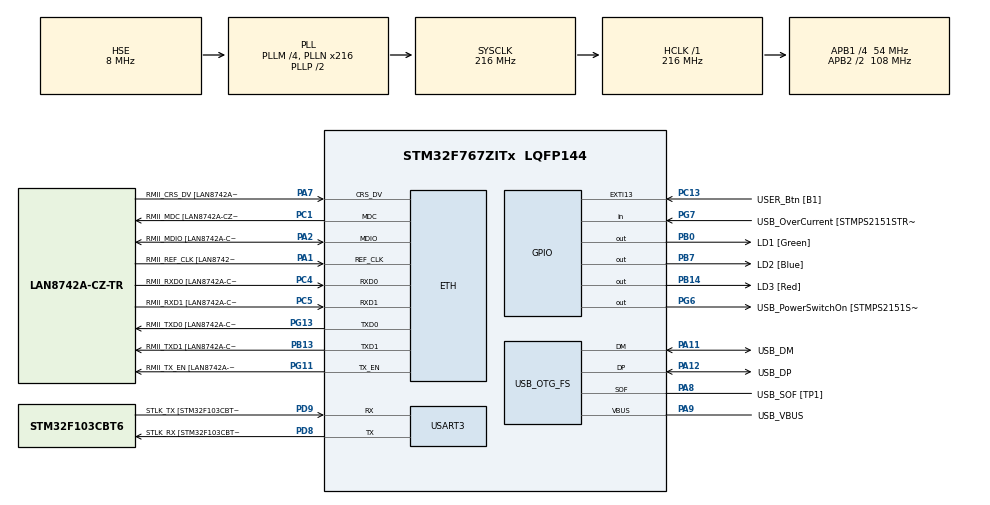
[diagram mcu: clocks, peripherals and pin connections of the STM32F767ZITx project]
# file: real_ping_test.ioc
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CORTEX_M7.default_mode_Activation=1
ETH.MediaInterface=HAL_ETH_RMII_MODE
ETH.PHY_Name=LAN8742A_PHY_ADDRESS
ETH.PHY_Value=0
ETH.PhyAddress=0
LWIP.BSP.number=1
LWIP.IP_ADDRESS=192.168.000.010
LWIP.LWIP_DHCP=0
LWIP.NETMASK_ADDRESS=255.255.255.000
LWIP.Version=v2.1.2_Cube
LWIP0.BSP.STBoard=false
LWIP0.BSP.api=BSP_COMPONENT_DRIVER
LWIP0.BSP.component=LAN8742
LWIP0.BSP.instance=LAN8742
LWIP0.BSP.name=Driver_PHY
LWIP0.BSP.semaphore=S_LAN8742
LWIP0.BSP.solution=LAN8742
Mcu.Family=STM32F7
Mcu.Name=STM32F767ZITx
Mcu.Package=LQFP144
NVIC.ETH_IRQn=true\:0\:0\:false\:false\:true\:true\:true\:true
NVIC.PriorityGroup=NVIC_PRIORITYGROUP_4
PA1.GPIO_Label=RMII_REF_CLK [LAN8742A-CZ-TR_REFCLK0]
PA1.Mode=RMII
PA1.Signal=ETH_REF_CLK
PA10.GPIO_Label=USB_ID
PA10.Signal=USB_OTG_FS_ID
PA11.GPIO_Label=USB_DM
PA11.Mode=Device_Only
PA11.Signal=USB_OTG_FS_DM
PA12.GPIO_Label=USB_DP
PA12.Mode=Device_Only
PA12.Signal=USB_OTG_FS_DP
PA13.GPIO_Label=TMS
PA13.Mode=Serial_Wire
PA13.Signal=SYS_JTMS-SWDIO
PA14.GPIO_Label=TCK
PA14.Mode=Serial_Wire
PA14.Signal=SYS_JTCK-SWCLK
PA2.GPIO_Label=RMII_MDIO [LAN8742A-CZ-TR_MDIO]
PA2.Mode=RMII
PA2.Signal=ETH_MDIO
PA7.GPIO_Label=RMII_CRS_DV [LAN8742A-CZ-TR_CRS_DV]
PA7.Mode=RMII
PA7.Signal=ETH_CRS_DV
PA8.GPIO_Label=USB_SOF [TP1]
PA8.Mode=Activate_SOF_FS
PA8.Signal=USB_OTG_FS_SOF
PA9.GPIO_Label=USB_VBUS
PA9.Mode=Activate_VBUS
PA9.Signal=USB_OTG_FS_VBUS
PB0.GPIO_Label=LD1 [Green]
PB0.Signal=GPIO_Output
PB13.GPIO_Label=RMII_TXD1 [LAN8742A-CZ-TR_TXD1]
PB13.Mode=RMII
PB13.Signal=ETH_TXD1
PB14.GPIO_Label=LD3 [Red]
PB14.Signal=GPIO_Output
PB3.GPIO_Label=SWO
PB3.Signal=SYS_JTDO-SWO
PB7.GPIO_Label=LD2 [Blue]
PB7.Signal=GPIO_Output
PC1.GPIO_Label=RMII_MDC [LAN8742A-CZ-TR_MDC]
PC1.Mode=RMII
PC1.Signal=ETH_MDC
PC13.GPIO_Label=USER_Btn [B1]
PC13.Signal=GPXTI13
PC14/OSC32_IN.Mode=LSE-External-Oscillator
PC14/OSC32_IN.Signal=RCC_OSC32_IN
PC15/OSC32_OUT.Mode=LSE-External-Oscillator
PC15/OSC32_OUT.Signal=RCC_OSC32_OUT
PC4.GPIO_Label=RMII_RXD0 [LAN8742A-CZ-TR_RXD0]
PC4.Mode=RMII
PC4.Signal=ETH_RXD0
PC5.GPIO_Label=RMII_RXD1 [LAN8742A-CZ-TR_RXD1]
PC5.Mode=RMII
PC5.Signal=ETH_RXD1
PD8.GPIO_Label=STLK_RX [STM32F103CBT6_PA3]
PD8.Mode=Asynchronous
PD8.Signal=USART3_TX
PD9.GPIO_Label=STLK_TX [STM32F103CBT6_PA2]
PD9.Mode=Asynchronous
PD9.Signal=USART3_RX
PG11.GPIO_Label=RMII_TX_EN [LAN8742A-CZ-TR_TXEN]
PG11.Mode=RMII
PG11.Signal=ETH_TX_EN
PG13.GPIO_Label=RMII_TXD0 [LAN8742A-CZ-TR_TXD0]
PG13.Mode=RMII
PG13.Signal=ETH_TXD0
PG6.GPIO_Label=USB_PowerSwitchOn [STMPS2151STR_EN]
PG6.Signal=GPIO_Output
PG7.GPIO_Label=USB_OverCurrent [STMPS2151STR_FAULT]
PG7.Signal=GPIO_Input
PH0/OSC_IN.GPIO_Label=MCO [STM32F103CBT6_PA8]
PH0/OSC_IN.Mode=HSE-External-Clock-Source
PH0/OSC_IN.Signal=RCC_OSC_IN
PH1/OSC_OUT.Mode=HSE-External-Clock-Source
PH1/OSC_OUT.Signal=RCC_OSC_OUT
ProjectManager.HeapSize=0x200
ProjectManager.StackSize=0x400
ProjectManager.TargetToolchain=STM32CubeIDE
RCC.48MHZClocksFreq_Value=24000000
RCC.AHBFreq_Value=216000000
RCC.APB1CLKDivider=RCC_HCLK_DIV4
RCC.APB1Freq_Value=54000000
RCC.APB1TimFreq_Value=108000000
RCC.APB2CLKDivider=RCC_HCLK_DIV2
RCC.APB2Freq_Value=108000000
RCC.APB2TimFreq_Value=216000000
RCC.CortexFreq_Value=216000000
RCC.HCLKFreq_Value=216000000
RCC.HSE_VALUE=8000000
RCC.HSI_VALUE=16000000
RCC.PLLM=4
RCC.PLLMUL=RCC_PLL_MUL9
RCC.PLLN=216
RCC.PLLQ=9
RCC.PRESCALERUSB=RCC_USBCLKSOURCE_PLL_DIV1_5
RCC.SYSCLKFreq_VALUE=216000000
RCC.SYSCLKSource=RCC_SYSCLKSOURCE_PLLCLK
RCC.SYSCLKSourceVirtual=RCC_SYSCLKSOURCE_PLLCLK
RCC.USBFreq_Value=48000000
RCC.VCOOutputFreq_Value=432000000
USART3.VirtualMode-Asynchronous=VM_ASYNC
USB_OTG_FS.VirtualMode=Device_Only
VP_LWIP_VS_Enabled.Mode=Enabled
board=NUCLEO-F767ZI

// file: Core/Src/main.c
/* USER CODE BEGIN Header */
/**
  ******************************************************************************
  * @file           : main.c
  * @brief          : Main program body
  ******************************************************************************
  * @attention
  *
  * Copyright (c) 2026 STMicroelectronics.
  * All rights reserved.
  *
  * This software is licensed under terms that can be found in the LICENSE file
  * in the root directory of this software component.
  * If no LICENSE file comes with this software, it is provided AS-IS.
  *
  ******************************************************************************
  */
/* USER CODE END Header */
#include "main.h"
#include "lwip.h"

/* USER CODE BEGIN Includes */
#include "lwip/tcp.h"
#include <string.h>
/* USER CODE END Includes */

/* USER CODE BEGIN PD */
/* DoIP (ISO 13400-2) */
#define DOIP_HDR_LEN            8U
#define DOIP_RX_BUF_SIZE        2048U        /* 최대 메시지 = 8 + 4 + 2 + 1024 = 1038B */
#define DOIP_PT_GENERIC_NACK    0x0000U
#define DOIP_PT_ROUTING_REQ     0x0005U
#define DOIP_PT_ROUTING_RES     0x0006U
#define DOIP_PT_DIAG_MSG        0x8001U
#define DOIP_PT_DIAG_ACK        0x8002U
#define DOIP_PT_DIAG_NACK       0x8003U
#define DOIP_ECU_ADDR           0x1000U      /* 이 보드(ECU)의 논리 주소 */

/* OTA 수신 영역: Sector 5 (256KB) */
#define OTA_BANK_START          0x08040000U
#define OTA_BANK_END            0x08080000U  /* Sector 5 끝 (이 주소는 포함 안 함) */
#define OTA_BANK_SECTOR         FLASH_SECTOR_5
/* USER CODE END PD */

UART_HandleTypeDef huart3;

PCD_HandleTypeDef hpcd_USB_OTG_FS;

/* USER CODE BEGIN PV */
uint32_t current_flash_addr = OTA_BANK_START;
/* USER CODE END PV */

void SystemClock_Config(void);
static void MPU_Config(void);
static void MX_GPIO_Init(void);
static void MX_USART3_UART_Init(void);
static void MX_USB_OTG_FS_PCD_Init(void);

/* USER CODE BEGIN 0 */

/* ============================================================================
 *  DoIP (ISO 13400-2) 수신 계층 + UDS (ISO 14229-1) 0x36 / 0x37 처리
 *
 *  TCP는 메시지 경계가 없는 스트림이라 수신 콜백 1번 = 메시지 1개가 아니다.
 *  그래서 받은 바이트를 doip_rx_buf에 쌓아두고,
 *  DoIP 헤더(8B)의 Payload Length만큼 다 모였을 때만 메시지 1개로 처리한다.
 * ==========================================================================*/

/* ---------- DoIP 세션 상태 ---------- */
static uint8_t  doip_rx_buf[DOIP_RX_BUF_SIZE];
static uint16_t doip_rx_len    = 0;      /* 버퍼에 쌓인 바이트 수 */
static uint16_t tester_addr    = 0;      /* Routing Activation 때 받은 테스터 주소 */
static uint8_t  routing_active = 0;

/* ---------- OTA(UDS 0x36/0x37) 상태 ---------- */
static uint8_t  ota_in_progress = 0;
static uint8_t  expected_bsc    = 1;

/* ===================== DoIP 송신 ===================== */
static void doip_send(struct tcp_pcb *tpcb, uint16_t ptype,
                      const uint8_t *payload, uint16_t plen)
{
    uint8_t hdr[DOIP_HDR_LEN] = {
        0x02, 0xFD,                                   /* Protocol Version / Inverse */
        (uint8_t)(ptype >> 8), (uint8_t)ptype,        /* Payload Type */
        0x00, 0x00, (uint8_t)(plen >> 8), (uint8_t)plen /* Payload Length */
    };

    tcp_write(tpcb, hdr, DOIP_HDR_LEN, TCP_WRITE_FLAG_COPY | TCP_WRITE_FLAG_MORE);
    if (plen > 0) {
        tcp_write(tpcb, payload, plen, TCP_WRITE_FLAG_COPY);
    }
    tcp_output(tpcb);
}

/* 헤더 오류 응답 (Payload Type 0x0000) */
static void doip_send_generic_nack(struct tcp_pcb *tpcb, uint8_t code)
{
    doip_send(tpcb, DOIP_PT_GENERIC_NACK, &code, 1);
}

/* Routing Activation Response (0x0006) */
static void doip_send_routing_response(struct tcp_pcb *tpcb, uint8_t code)
{
    uint8_t pl[9] = {
        (uint8_t)(tester_addr >> 8), (uint8_t)tester_addr,       /* 테스터 주소 */
        (uint8_t)(DOIP_ECU_ADDR >> 8), (uint8_t)DOIP_ECU_ADDR,   /* ECU 주소 */
        code,                                                    /* 0x10 = 성공 */
        0x00, 0x00, 0x00, 0x00                                   /* Reserved */
    };
    doip_send(tpcb, DOIP_PT_ROUTING_RES, pl, sizeof(pl));
}

/* Diagnostic Message ACK(0x8002) / NACK(0x8003)
 * 요청의 SA/TA를 뒤집어서 보낸다 (보내는 쪽 = ECU, 받는 쪽 = 테스터) */
static void doip_send_diag_status(struct tcp_pcb *tpcb, uint16_t ptype,
                                  uint16_t req_sa, uint16_t req_ta, uint8_t code)
{
    uint8_t pl[5] = {
        (uint8_t)(req_ta >> 8), (uint8_t)req_ta,
        (uint8_t)(req_sa >> 8), (uint8_t)req_sa,
        code
    };
    doip_send(tpcb, ptype, pl, sizeof(pl));
}

/* UDS 응답을 Diagnostic Message(0x8001)로 감싸서 보낸다 (짧은 응답 전용) */
static void uds_send_response(struct tcp_pcb *tpcb, const uint8_t *uds, uint16_t len)
{
    uint8_t pl[4 + 8];
    if (len > 8) {
        return;
    }
    pl[0] = (uint8_t)(DOIP_ECU_ADDR >> 8);
    pl[1] = (uint8_t)DOIP_ECU_ADDR;
    pl[2] = (uint8_t)(tester_addr >> 8);
    pl[3] = (uint8_t)tester_addr;
    memcpy(&pl[4], uds, len);
    doip_send(tpcb, DOIP_PT_DIAG_MSG, pl, (uint16_t)(4 + len));
}

static void uds_send_nrc(struct tcp_pcb *tpcb, uint8_t sid, uint8_t nrc)
{
    uint8_t res[3] = { 0x7F, sid, nrc };
    uds_send_response(tpcb, res, sizeof(res));
}

/* ===================== Flash / OTA ===================== */
/* OTA 상태를 처음으로 되돌린다. 실패, 재시도, 연결 끊김 때마다 호출 */
static void ota_reset(void)
{
    ota_in_progress    = 0;
    expected_bsc       = 1;
    current_flash_addr = OTA_BANK_START;
    HAL_FLASH_Lock();
}

static HAL_StatusTypeDef ota_erase_bank(void)
{
    FLASH_EraseInitTypeDef erase = {0};
    uint32_t sector_error = 0;

    HAL_FLASH_Unlock();
    __HAL_FLASH_CLEAR_FLAG(FLASH_FLAG_EOP | FLASH_FLAG_ALL_ERRORS);

    erase.TypeErase    = FLASH_TYPEERASE_SECTORS;
    erase.Sector       = OTA_BANK_SECTOR;
    erase.NbSectors    = 1;
    erase.VoltageRange = FLASH_VOLTAGE_RANGE_3;

    return HAL_FLASHEx_Erase(&erase, &sector_error);
}

/* ===================== UDS 서비스 ===================== */
/* 0x36 TransferData: [0x36][BSC][data...] */
static void uds_transfer_data(struct tcp_pcb *tpcb, const uint8_t *uds, uint16_t len)
{
    if (len < 2) {
        uds_send_nrc(tpcb, 0x36, 0x13);           /* incorrectMessageLengthOrInvalidFormat */
        return;
    }

    uint8_t        bsc      = uds[1];
    const uint8_t *data     = &uds[2];
    uint16_t       data_len = (uint16_t)(len - 2);

    if (bsc != expected_bsc) {
        ota_reset();
        uds_send_nrc(tpcb, 0x36, 0x73);           /* wrongBlockSequenceCounter */
        return;
    }
    if ((data_len % 4U) != 0U) {
        ota_reset();
        uds_send_nrc(tpcb, 0x36, 0x13);           /* 워드 정렬 안 됨 */
        return;
    }

    /* 첫 블록이면 새 OTA 시작: 쓰기 주소 초기화 + 뱅크 erase */
    if (!ota_in_progress) {
        current_flash_addr = OTA_BANK_START;
        if (ota_erase_bank() != HAL_OK) {
            ota_reset();
            uds_send_nrc(tpcb, 0x36, 0x72);       /* generalProgrammingFailure */
            return;
        }
        ota_in_progress = 1;
    }

    /* 뱅크 범위를 넘어가면 중단 */
    if ((current_flash_addr + data_len) > OTA_BANK_END) {
        ota_reset();
        uds_send_nrc(tpcb, 0x36, 0x71);           /* transferDataSuspended */
        return;
    }

    for (uint16_t i = 0; i < data_len; i += 4) {
        uint32_t word = (uint32_t)data[i]
                      | ((uint32_t)data[i + 1] << 8)
                      | ((uint32_t)data[i + 2] << 16)
                      | ((uint32_t)data[i + 3] << 24);

        if (HAL_FLASH_Program(FLASH_TYPEPROGRAM_WORD, current_flash_addr, word) != HAL_OK
            || *(volatile uint32_t *)current_flash_addr != word) {   /* 쓴 값 다시 읽어서 확인 */
            ota_reset();
            uds_send_nrc(tpcb, 0x36, 0x72);       /* generalProgrammingFailure */
            return;
        }
        current_flash_addr += 4;
    }

    expected_bsc++;                               /* 0xFF 다음은 0x00 (ISO 14229 규칙) */

    uint8_t res[2] = { 0x76, bsc };
    uds_send_response(tpcb, res, sizeof(res));
}

/* 0x37 RequestTransferExit */
static void uds_transfer_exit(struct tcp_pcb *tpcb)
{
    if (!ota_in_progress) {
        uds_send_nrc(tpcb, 0x37, 0x24);           /* requestSequenceError */
        return;
    }
    ota_reset();                                  /* Flash Lock 포함 */

    uint8_t res[1] = { 0x77 };
    uds_send_response(tpcb, res, sizeof(res));
}

static void uds_handle_request(struct tcp_pcb *tpcb, const uint8_t *uds, uint16_t len)
{
    switch (uds[0]) {
    case 0x36: uds_transfer_data(tpcb, uds, len); break;
    case 0x37: uds_transfer_exit(tpcb);           break;
    default:   uds_send_nrc(tpcb, uds[0], 0x11);  break;   /* serviceNotSupported */
    }
}

/* ===================== DoIP 메시지 처리 ===================== */
static void doip_handle_message(struct tcp_pcb *tpcb, uint16_t ptype,
                                const uint8_t *payload, uint16_t plen)
{
    switch (ptype) {
    case DOIP_PT_ROUTING_REQ:
    {
        if (plen < 7) {                           /* SA(2) + Type(1) + Reserved(4) */
            doip_send_generic_nack(tpcb, 0x04);   /* invalid payload length */
            break;
        }
        tester_addr    = (uint16_t)((payload[0] << 8) | payload[1]);
        routing_active = 1;
        doip_send_routing_response(tpcb, 0x10);   /* Routing successfully activated */
        break;
    }

    case DOIP_PT_DIAG_MSG:
    {
        if (plen < 5) {                           /* SA(2) + TA(2) + UDS 최소 1바이트 */
            doip_send_generic_nack(tpcb, 0x04);
            break;
        }
        uint16_t sa = (uint16_t)((payload[0] << 8) | payload[1]);
        uint16_t ta = (uint16_t)((payload[2] << 8) | payload[3]);

        if (!routing_active || sa != tester_addr) {
            doip_send_diag_status(tpcb, DOIP_PT_DIAG_NACK, sa, ta, 0x02);  /* invalid source address */
            break;
        }
        if (ta != DOIP_ECU_ADDR) {
            doip_send_diag_status(tpcb, DOIP_PT_DIAG_NACK, sa, ta, 0x03);  /* unknown target address */
            break;
        }

        doip_send_diag_status(tpcb, DOIP_PT_DIAG_ACK, sa, ta, 0x00);       /* 먼저 "받았음" */
        uds_handle_request(tpcb, &payload[4], (uint16_t)(plen - 4));       /* 그다음 UDS 응답 */
        break;
    }

    default:
        doip_send_generic_nack(tpcb, 0x01);       /* unknown payload type */
        break;
    }
}

/* 버퍼에 완성된 메시지가 있으면 전부 처리하고, 처리한 만큼 버퍼 앞에서 지운다 */
static void doip_process_buffer(struct tcp_pcb *tpcb)
{
    while (doip_rx_len >= DOIP_HDR_LEN) {
        if (doip_rx_buf[0] != 0x02 || doip_rx_buf[1] != 0xFD) {
            doip_send_generic_nack(tpcb, 0x00);   /* incorrect pattern format */
            doip_rx_len = 0;
            return;
        }

        uint16_t ptype = (uint16_t)((doip_rx_buf[2] << 8) | doip_rx_buf[3]);
        uint32_t plen  = ((uint32_t)doip_rx_buf[4] << 24) | ((uint32_t)doip_rx_buf[5] << 16)
                       | ((uint32_t)doip_rx_buf[6] << 8)  |  (uint32_t)doip_rx_buf[7];

        if (plen > (DOIP_RX_BUF_SIZE - DOIP_HDR_LEN)) {
            doip_send_generic_nack(tpcb, 0x02);   /* message too large */
            doip_rx_len = 0;
            return;
        }

        uint16_t total = (uint16_t)(DOIP_HDR_LEN + plen);
        if (doip_rx_len < total) {
            return;                               /* 아직 덜 왔음 → 다음 조각 기다림 */
        }

        doip_handle_message(tpcb, ptype, &doip_rx_buf[DOIP_HDR_LEN], (uint16_t)plen);

        doip_rx_len = (uint16_t)(doip_rx_len - total);
        memmove(doip_rx_buf, &doip_rx_buf[total], doip_rx_len);
    }
}

/* 연결이 끊기면 세션과 OTA 상태를 모두 초기화 */
static void doip_reset_session(void)
{
    doip_rx_len    = 0;
    routing_active = 0;
    tester_addr    = 0;
    if (ota_in_progress) {
        ota_reset();
    }
}

/* ===================== LwIP 콜백 ===================== */
static err_t tcp_server_recv(void *arg, struct tcp_pcb *tpcb, struct pbuf *p, err_t err)
{
    if (p == NULL) {                              /* 상대가 연결 종료 (FIN) */
        doip_reset_session();
        tcp_close(tpcb);
        return ERR_OK;
    }
    if (err != ERR_OK) {
        pbuf_free(p);
        return err;
    }

    /* pbuf(체인일 수도 있음)를 버퍼에 이어 붙이면서, 완성된 메시지는 바로 처리 */
    uint16_t copied = 0;
    while (copied < p->tot_len) {
        uint16_t space = (uint16_t)(DOIP_RX_BUF_SIZE - doip_rx_len);
        uint16_t chunk = (uint16_t)(p->tot_len - copied);
        if (chunk > space) {
            chunk = space;
        }
        if (chunk == 0) {                         /* 버퍼가 꽉 찼는데 메시지가 안 끝남 → 비정상 */
            doip_rx_len = 0;
            break;
        }
        pbuf_copy_partial(p, &doip_rx_buf[doip_rx_len], chunk, copied);
        doip_rx_len = (uint16_t)(doip_rx_len + chunk);
        copied      = (uint16_t)(copied + chunk);

        doip_process_buffer(tpcb);
    }

    tcp_recved(tpcb, p->tot_len);
    pbuf_free(p);
    return ERR_OK;
}

/* 연결이 비정상 종료(RST 등)됐을 때. tpcb는 이미 해제된 상태라 건드리지 않는다 */
static void tcp_server_err(void *arg, err_t err)
{
    doip_reset_session();
}

static err_t tcp_server_accept(void *arg, struct tcp_pcb *newpcb, err_t err)
{
    doip_reset_session();                         /* 새 연결은 항상 깨끗한 상태에서 시작 */
    tcp_recv(newpcb, tcp_server_recv);
    tcp_err(newpcb, tcp_server_err);
    return ERR_OK;
}

void tcp_server_init(void)
{
    struct tcp_pcb *pcb = tcp_new();
    if (pcb == NULL) {
        return;
    }
    if (tcp_bind(pcb, IP_ADDR_ANY, 13400) != ERR_OK) {
        tcp_close(pcb);
        return;
    }
    pcb = tcp_listen(pcb);
    tcp_accept(pcb, tcp_server_accept);
}
/* USER CODE END 0 */

int main(void)
{

  /* MPU Configuration--------------------------------------------------------*/
  MPU_Config();

  /* MCU Configuration--------------------------------------------------------*/

  /* Reset of all peripherals, Initializes the Flash interface and the Systick. */
  HAL_Init();

  /* Configure the system clock */
  SystemClock_Config();

  /* Initialize all configured peripherals */
  MX_GPIO_Init();
  MX_USART3_UART_Init();
  MX_USB_OTG_FS_PCD_Init();
  MX_LWIP_Init();
  /* USER CODE BEGIN 2 */

  tcp_server_init();

  /* USER CODE END 2 */

  /* Infinite loop */
  while (1)
  {

    /* USER CODE BEGIN 3 */
	  MX_LWIP_Process();
  }
  /* USER CODE END 3 */
}

void SystemClock_Config(void)
{
  RCC_OscInitTypeDef RCC_OscInitStruct = {0};
  RCC_ClkInitTypeDef RCC_ClkInitStruct = {0};

  /** Configure LSE Drive Capability
  */
  HAL_PWR_EnableBkUpAccess();

  /** Configure the main internal regulator output voltage
  */
  __HAL_RCC_PWR_CLK_ENABLE();
  __HAL_PWR_VOLTAGESCALING_CONFIG(PWR_REGULATOR_VOLTAGE_SCALE1);

  /** Initializes the RCC Oscillators according to the specified parameters
  * in the RCC_OscInitTypeDef structure.
  */
  RCC_OscInitStruct.OscillatorType = RCC_OSCILLATORTYPE_HSE;
  RCC_OscInitStruct.HSEState = RCC_HSE_BYPASS;
  RCC_OscInitStruct.PLL.PLLState = RCC_PLL_ON;
  RCC_OscInitStruct.PLL.PLLSource = RCC_PLLSOURCE_HSE;
  RCC_OscInitStruct.PLL.PLLM = 4;
  RCC_OscInitStruct.PLL.PLLN = 216;
  RCC_OscInitStruct.PLL.PLLP = RCC_PLLP_DIV2;
  RCC_OscInitStruct.PLL.PLLQ = 9;
  RCC_OscInitStruct.PLL.PLLR = 2;
  if (HAL_RCC_OscConfig(&RCC_OscInitStruct) != HAL_OK)
  {
    Error_Handler();
  }

  /** Activate the Over-Drive mode
  */
  if (HAL_PWREx_EnableOverDrive() != HAL_OK)
  {
    Error_Handler();
  }

  /** Initializes the CPU, AHB and APB buses clocks
  */
  RCC_ClkInitStruct.ClockType = RCC_CLOCKTYPE_HCLK|RCC_CLOCKTYPE_SYSCLK
                              |RCC_CLOCKTYPE_PCLK1|RCC_CLOCKTYPE_PCLK2;
  RCC_ClkInitStruct.SYSCLKSource = RCC_SYSCLKSOURCE_PLLCLK;
  RCC_ClkInitStruct.AHBCLKDivider = RCC_SYSCLK_DIV1;
  RCC_ClkInitStruct.APB1CLKDivider = RCC_HCLK_DIV4;
  RCC_ClkInitStruct.APB2CLKDivider = RCC_HCLK_DIV2;

  if (HAL_RCC_ClockConfig(&RCC_ClkInitStruct, FLASH_LATENCY_7) != HAL_OK)
  {
    Error_Handler();
  }
}

static void MX_USART3_UART_Init(void)
{

  huart3.Instance = USART3;
  huart3.Init.BaudRate = 115200;
  huart3.Init.WordLength = UART_WORDLENGTH_8B;
  huart3.Init.StopBits = UART_STOPBITS_1;
  huart3.Init.Parity = UART_PARITY_NONE;
  huart3.Init.Mode = UART_MODE_TX_RX;
  huart3.Init.HwFlowCtl = UART_HWCONTROL_NONE;
  huart3.Init.OverSampling = UART_OVERSAMPLING_16;
  huart3.Init.OneBitSampling = UART_ONE_BIT_SAMPLE_DISABLE;
  huart3.AdvancedInit.AdvFeatureInit = UART_ADVFEATURE_NO_INIT;
  if (HAL_UART_Init(&huart3) != HAL_OK)
  {
    Error_Handler();
  }

}

static void MX_USB_OTG_FS_PCD_Init(void)
{

  hpcd_USB_OTG_FS.Instance = USB_OTG_FS;
  hpcd_USB_OTG_FS.Init.dev_endpoints = 6;
  hpcd_USB_OTG_FS.Init.speed = PCD_SPEED_FULL;
  hpcd_USB_OTG_FS.Init.dma_enable = DISABLE;
  hpcd_USB_OTG_FS.Init.phy_itface = PCD_PHY_EMBEDDED;
  hpcd_USB_OTG_FS.Init.Sof_enable = ENABLE;
  hpcd_USB_OTG_FS.Init.low_power_enable = DISABLE;
  hpcd_USB_OTG_FS.Init.lpm_enable = DISABLE;
  hpcd_USB_OTG_FS.Init.vbus_sensing_enable = ENABLE;
  hpcd_USB_OTG_FS.Init.use_dedicated_ep1 = DISABLE;
  if (HAL_PCD_Init(&hpcd_USB_OTG_FS) != HAL_OK)
  {
    Error_Handler();
  }

}

static void MX_GPIO_Init(void)
{
  GPIO_InitTypeDef GPIO_InitStruct = {0};

  /* GPIO Ports Clock Enable */
  __HAL_RCC_GPIOC_CLK_ENABLE();
  __HAL_RCC_GPIOH_CLK_ENABLE();
  __HAL_RCC_GPIOA_CLK_ENABLE();
  __HAL_RCC_GPIOB_CLK_ENABLE();
  __HAL_RCC_GPIOD_CLK_ENABLE();
  __HAL_RCC_GPIOG_CLK_ENABLE();

  /*Configure GPIO pin Output Level */
  HAL_GPIO_WritePin(GPIOB, LD1_Pin|LD3_Pin|LD2_Pin, GPIO_PIN_RESET);

  /*Configure GPIO pin Output Level */
  HAL_GPIO_WritePin(USB_PowerSwitchOn_GPIO_Port, USB_PowerSwitchOn_Pin, GPIO_PIN_RESET);

  /*Configure GPIO pin : USER_Btn_Pin */
  GPIO_InitStruct.Pin = USER_Btn_Pin;
  GPIO_InitStruct.Mode = GPIO_MODE_IT_RISING;
  GPIO_InitStruct.Pull = GPIO_NOPULL;
  HAL_GPIO_Init(USER_Btn_GPIO_Port, &GPIO_InitStruct);

  /*Configure GPIO pins : LD1_Pin LD3_Pin LD2_Pin */
  GPIO_InitStruct.Pin = LD1_Pin|LD3_Pin|LD2_Pin;
  GPIO_InitStruct.Mode = GPIO_MODE_OUTPUT_PP;
  GPIO_InitStruct.Pull = GPIO_NOPULL;
  GPIO_InitStruct.Speed = GPIO_SPEED_FREQ_LOW;
  HAL_GPIO_Init(GPIOB, &GPIO_InitStruct);

  /*Configure GPIO pin : USB_PowerSwitchOn_Pin */
  GPIO_InitStruct.Pin = USB_PowerSwitchOn_Pin;
  GPIO_InitStruct.Mode = GPIO_MODE_OUTPUT_PP;
  GPIO_InitStruct.Pull = GPIO_NOPULL;
  GPIO_InitStruct.Speed = GPIO_SPEED_FREQ_LOW;
  HAL_GPIO_Init(USB_PowerSwitchOn_GPIO_Port, &GPIO_InitStruct);

  /*Configure GPIO pin : USB_OverCurrent_Pin */
  GPIO_InitStruct.Pin = USB_OverCurrent_Pin;
  GPIO_InitStruct.Mode = GPIO_MODE_INPUT;
  GPIO_InitStruct.Pull = GPIO_NOPULL;
  HAL_GPIO_Init(USB_OverCurrent_GPIO_Port, &GPIO_InitStruct);

}

 /* MPU Configuration */

void MPU_Config(void)
{
  MPU_Region_InitTypeDef MPU_InitStruct = {0};

  /* Disables the MPU */
  HAL_MPU_Disable();

  /** Initializes and configures the Region and the memory to be protected
  */
  MPU_InitStruct.Enable = MPU_REGION_ENABLE;
  MPU_InitStruct.Number = MPU_REGION_NUMBER0;
  MPU_InitStruct.BaseAddress = 0x0;
  MPU_InitStruct.Size = MPU_REGION_SIZE_4GB;
  MPU_InitStruct.SubRegionDisable = 0x87;
  MPU_InitStruct.TypeExtField = MPU_TEX_LEVEL0;
  MPU_InitStruct.AccessPermission = MPU_REGION_NO_ACCESS;
  MPU_InitStruct.DisableExec = MPU_INSTRUCTION_ACCESS_DISABLE;
  MPU_InitStruct.IsShareable = MPU_ACCESS_SHAREABLE;
  MPU_InitStruct.IsCacheable = MPU_ACCESS_NOT_CACHEABLE;
  MPU_InitStruct.IsBufferable = MPU_ACCESS_NOT_BUFFERABLE;

  HAL_MPU_ConfigRegion(&MPU_InitStruct);
  /* Enables the MPU */
  HAL_MPU_Enable(MPU_PRIVILEGED_DEFAULT);

}

void Error_Handler(void)
{
  __disable_irq();
  while (1)
  {
  }
}
